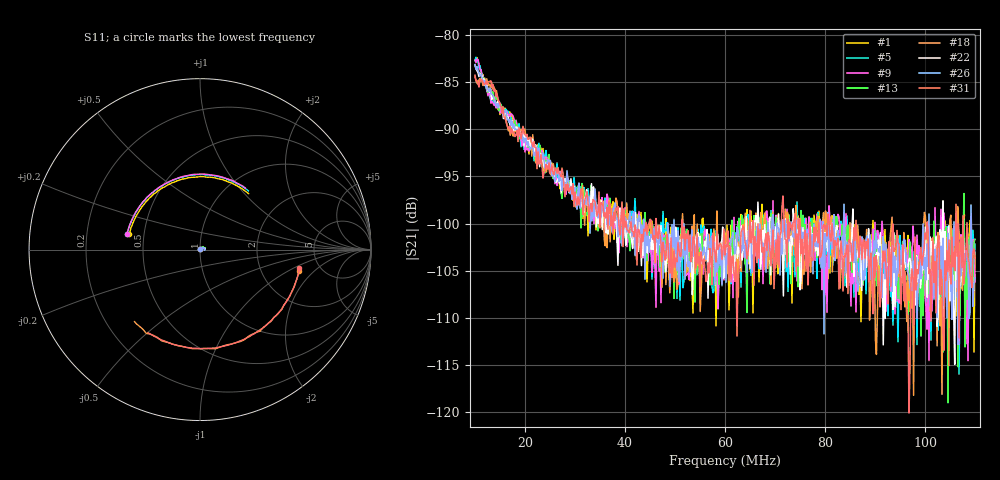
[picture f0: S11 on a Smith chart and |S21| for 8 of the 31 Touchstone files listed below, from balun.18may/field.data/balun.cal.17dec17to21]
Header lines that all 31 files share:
! Anritsu VNA Master:  Model: MS2036C/10/77
! SN:  1601066
! Existing Calibration Information:
! TYPE:  Current Settings,  Active Cal Settings
! # POINTS:  501,  501
! START FREQ:  10.000 MHz,  10.000 MHz
! SOURCE POWER:  High,  High
! IFBW:  100 Hz,  100 Hz
! AVG FACTOR:  1 ,  1
! REF PLANE 1:  0 mm,  0 mm
! REF PLANE 2:  0 mm,  0 mm
! CAL TYPE:  Full S11,  Full S11
! CAL METHOD:  SOLT,  SOLT
! CAL LINE TYPE:  Coax,  Coax
! DUT PORT 2:  K-Conn(F),  K-Conn(F)
! CAL STATUS:  OK: Accuracy High,  --
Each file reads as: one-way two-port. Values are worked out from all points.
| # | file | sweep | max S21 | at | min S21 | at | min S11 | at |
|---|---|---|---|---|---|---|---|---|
| 1 | 252.ew.sma.20ohm2.s2p | 10 MHz to 110 MHz | -82.43 dB | 10.4 MHz | -113.6 dB | 109.8 MHz | -7.5 dB | 27 MHz |
| 2 | 252.ew.sma.200ohm1.s2p | 10 MHz to 110 MHz | -83.90 dB | 10 MHz | -124.4 dB | 103.6 MHz | -4.8 dB | 110 MHz |
| 3 | 252.ew.sma.200ohm3.s2p | 10 MHz to 110 MHz | -84.31 dB | 10.2 MHz | -117.9 dB | 109.8 MHz | -4.8 dB | 109.8 MHz |
| 4 | 252.ew.sma.200ohm4.s2p | 10 MHz to 110 MHz | -84.40 dB | 10.4 MHz | -135.1 dB | 110 MHz | -4.8 dB | 108.2 MHz |
| 5 | 252.ns.sma.20bohm2.s2p | 10 MHz to 110 MHz | -82.38 dB | 10.2 MHz | -115.9 dB | 106.8 MHz | -7.3 dB | 42.2 MHz |
| 6 | 252.ns.sma.20ohm.s2p | 10 MHz to 110 MHz | -82.09 dB | 10 MHz | -123.5 dB | 101.2 MHz | -7.3 dB | 27 MHz |
| 7 | 252.ns.sma.200bohm2.s2p | 10 MHz to 110 MHz | -84.40 dB | 10.2 MHz | -120.3 dB | 108.4 MHz | -4.8 dB | 104.8 MHz |
| 8 | 254.ew.sma.me2.s2p | 10 MHz to 110 MHz | -83.53 dB | 12.2 MHz | -112.4 dB | 100.8 MHz | -10.0 dB | 106.6 MHz |
| 9 | 254.ew.sma.r20.22.s2p | 10 MHz to 110 MHz | -82.55 dB | 10.4 MHz | -114.5 dB | 108.6 MHz | -7.3 dB | 27 MHz |
| 10 | 254.ew.sma.r200.22.s2p | 10 MHz to 110 MHz | -84.26 dB | 10 MHz | -118.7 dB | 103.6 MHz | -4.9 dB | 108.2 MHz |
| 11 | 254.ns.sma.r20.11.s2p | 10 MHz to 110 MHz | -82.41 dB | 10.4 MHz | -124.1 dB | 105.4 MHz | -64.9 dB | 10 MHz |
| 12 | 254.ns.sma.r20.32.s2p | 10 MHz to 110 MHz | -82.28 dB | 10 MHz | -114.1 dB | 109 MHz | -7.3 dB | 35 MHz |
| 13 | 254.ns.sma.r50.32.s2p | 10 MHz to 110 MHz | -83.29 dB | 10 MHz | -119.0 dB | 104.6 MHz | -44.1 dB | 10 MHz |
| 14 | 254.ns.sma.r200.22.s2p | 10 MHz to 110 MHz | -83.83 dB | 10 MHz | -120.1 dB | 103.6 MHz | -4.9 dB | 105.6 MHz |
| 15 | 254.ns.sma.r200.31.s2p | 10 MHz to 110 MHz | -84.39 dB | 10 MHz | -115.1 dB | 97 MHz | -4.9 dB | 101.2 MHz |
| 16 | 255.ew.n.r20.1.s2p | 10 MHz to 107.9 MHz | -82.51 dB | 10 MHz | -127.7 dB | 107.1 MHz | -7.3 dB | 26.64 MHz |
| 17 | 255.ew.n.r50.1.s2p | 10 MHz to 107.9 MHz | -83.17 dB | 10.2 MHz | -119.7 dB | 101.4 MHz | -45.0 dB | 10 MHz |
| 18 | 255.ew.n.r50.2_1.s2p | 10 MHz to 107.9 MHz | -84.44 dB | 10 MHz | -118.2 dB | 97.72 MHz | -4.9 dB | 107.7 MHz |
| 19 | 255.ew.n.r200.2.s2p | 10 MHz to 107.9 MHz | -83.64 dB | 10 MHz | -120.5 dB | 90.08 MHz | -4.9 dB | 107.7 MHz |
| 20 | 255.ew.sma.r20.11.s2p | 10 MHz to 110 MHz | -82.59 dB | 10 MHz | -117.6 dB | 93.6 MHz | -7.3 dB | 35 MHz |
| 21 | 255.ew.sma.r20.v2.s2p | 10 MHz to 107.9 MHz | -82.38 dB | 10 MHz | -119.0 dB | 104.8 MHz | -7.3 dB | 35.06 MHz |
| 22 | 255.ew.sma.r50.v2.s2p | 10 MHz to 107.9 MHz | -83.16 dB | 10 MHz | -114.9 dB | 105.9 MHz | -44.8 dB | 10 MHz |
| 23 | 255.ns.sma.r200.11.s2p | 10 MHz to 110 MHz | -84.15 dB | 10 MHz | -121.4 dB | 101.8 MHz | -4.9 dB | 109.6 MHz |
| 24 | 256.ew.n.r20.11.s2p | 10 MHz to 110 MHz | -82.49 dB | 10 MHz | -114.0 dB | 99.4 MHz | -7.3 dB | 27.2 MHz |
| 25 | 256.ew.n.r20.12.s2p | 10 MHz to 110 MHz | -82.38 dB | 10.2 MHz | -132.1 dB | 100.4 MHz | -7.3 dB | 35.2 MHz |
| 26 | 256.ew.n.r50.22.s2p | 10 MHz to 110 MHz | -83.18 dB | 10 MHz | -112.8 dB | 106.6 MHz | -45.3 dB | 10.4 MHz |
| 27 | 256.ew.sma.me.s2p | 10 MHz to 110 MHz | -83.65 dB | 11.8 MHz | -117.0 dB | 108.4 MHz | -9.4 dB | 103.4 MHz |
| 28 | 256.ew.sma.r20.12.s2p | 10 MHz to 110 MHz | -82.51 dB | 10.2 MHz | -114.3 dB | 107.6 MHz | -7.3 dB | 35 MHz |
| 29 | 256.ew.sma.r20.22.s2p | 10 MHz to 110 MHz | -82.29 dB | 10 MHz | -130.1 dB | 101.2 MHz | -7.3 dB | 35.6 MHz |
| 30 | 256.ew.sma.r50.21.s2p | 10 MHz to 110 MHz | -83.42 dB | 10 MHz | -119.7 dB | 101.2 MHz | -44.8 dB | 10.6 MHz |
| 31 | 256.ew.sma.r200.12.s2p | 10 MHz to 110 MHz | -84.27 dB | 10 MHz | -120.1 dB | 96.8 MHz | -4.8 dB | 106.4 MHz |
